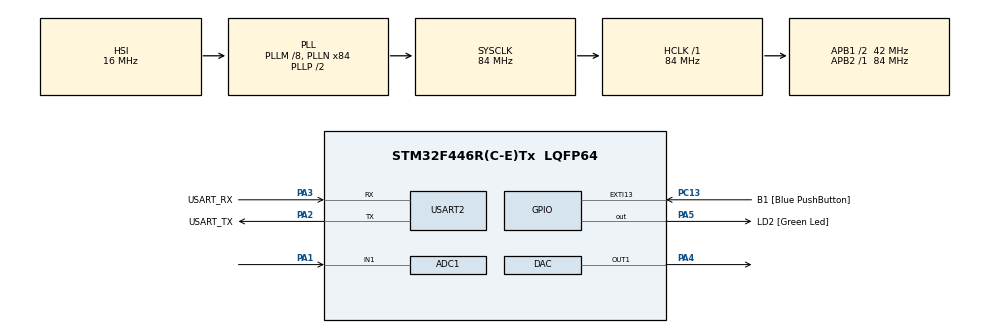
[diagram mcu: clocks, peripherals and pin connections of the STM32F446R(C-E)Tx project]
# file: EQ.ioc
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ADC1.Channel-0\#ChannelRegularConversion=ADC_CHANNEL_1
ADC1.ClockPrescaler=ADC_CLOCK_SYNC_PCLK_DIV4
ADC1.ContinuousConvMode=DISABLE
ADC1.DMAContinuousRequests=ENABLE
ADC1.ExternalTrigConv=ADC_EXTERNALTRIGCONV_T8_TRGO
ADC1.NbrOfConversionFlag=1
ADC1.Rank-0\#ChannelRegularConversion=1
ADC1.SamplingTime-0\#ChannelRegularConversion=ADC_SAMPLETIME_3CYCLES
ADC1.master=1
DAC.DAC_Trigger=DAC_TRIGGER_T8_TRGO
Dma.ADC1.0.Direction=DMA_PERIPH_TO_MEMORY
Dma.ADC1.0.FIFOMode=DMA_FIFOMODE_DISABLE
Dma.ADC1.0.Instance=DMA2_Stream0
Dma.ADC1.0.MemDataAlignment=DMA_MDATAALIGN_WORD
Dma.ADC1.0.MemInc=DMA_MINC_ENABLE
Dma.ADC1.0.Mode=DMA_CIRCULAR
Dma.ADC1.0.PeriphDataAlignment=DMA_PDATAALIGN_WORD
Dma.ADC1.0.PeriphInc=DMA_PINC_DISABLE
Dma.ADC1.0.Priority=DMA_PRIORITY_LOW
Dma.DAC1.1.Direction=DMA_MEMORY_TO_PERIPH
Dma.DAC1.1.FIFOMode=DMA_FIFOMODE_DISABLE
Dma.DAC1.1.Instance=DMA1_Stream5
Dma.DAC1.1.MemDataAlignment=DMA_MDATAALIGN_WORD
Dma.DAC1.1.MemInc=DMA_MINC_ENABLE
Dma.DAC1.1.Mode=DMA_CIRCULAR
Dma.DAC1.1.PeriphDataAlignment=DMA_PDATAALIGN_WORD
Dma.DAC1.1.PeriphInc=DMA_PINC_DISABLE
Dma.DAC1.1.Priority=DMA_PRIORITY_LOW
Dma.Request0=ADC1
Dma.Request1=DAC1
Mcu.Family=STM32F4
Mcu.Name=STM32F446R(C-E)Tx
Mcu.Package=LQFP64
NVIC.DMA1_Stream5_IRQn=true\:0\:0\:false\:false\:true\:false\:true\:true
NVIC.DMA2_Stream0_IRQn=true\:0\:0\:false\:false\:true\:false\:true\:true
NVIC.PriorityGroup=NVIC_PRIORITYGROUP_0
PA1.Signal=ADCx_IN1
PA13.GPIO_Label=TMS
PA13.Mode=Serial_Wire
PA13.Signal=SYS_JTMS-SWDIO
PA14.GPIO_Label=TCK
PA14.Mode=Serial_Wire
PA14.Signal=SYS_JTCK-SWCLK
PA2.GPIO_Label=USART_TX
PA2.Mode=Asynchronous
PA2.Signal=USART2_TX
PA3.GPIO_Label=USART_RX
PA3.Mode=Asynchronous
PA3.Signal=USART2_RX
PA4.Signal=COMP_DAC1_group
PA5.GPIO_Label=LD2 [Green Led]
PA5.Signal=GPIO_Output
PB3.GPIO_Label=SWO
PB3.Signal=SYS_JTDO-SWO
PC13.GPIO_Label=B1 [Blue PushButton]
PC13.GPIO_ModeDefaultEXTI=GPIO_MODE_IT_FALLING
PC13.Signal=GPXTI13
PC14-OSC32_IN.Signal=RCC_OSC32_IN
PC15-OSC32_OUT.Signal=RCC_OSC32_OUT
PH0-OSC_IN.Mode=HSE-External-Oscillator
PH0-OSC_IN.Signal=RCC_OSC_IN
PH1-OSC_OUT.Mode=HSE-External-Oscillator
PH1-OSC_OUT.Signal=RCC_OSC_OUT
ProjectManager.HeapSize=0x200
ProjectManager.StackSize=0x400
ProjectManager.TargetToolchain=STM32CubeIDE
RCC.48MHZClocksFreq_Value=84000000
RCC.AHBFreq_Value=84000000
RCC.APB1CLKDivider=RCC_HCLK_DIV2
RCC.APB1Freq_Value=42000000
RCC.APB1TimFreq_Value=84000000
RCC.APB2Freq_Value=84000000
RCC.APB2TimFreq_Value=84000000
RCC.CortexFreq_Value=84000000
RCC.FLatency-AdvancedSettings=FLASH_LATENCY_2
RCC.HCLKFreq_Value=84000000
RCC.HSE_VALUE=8000000
RCC.HSI_VALUE=16000000
RCC.PLLM=8
RCC.PLLN=84
RCC.SYSCLKFreq_VALUE=84000000
RCC.SYSCLKSource=RCC_SYSCLKSOURCE_PLLCLK
RCC.USBFreq_Value=84000000
RCC.VCOOutputFreq_Value=168000000
SH.ADCx_IN1.0=ADC1_IN1,IN1
SH.COMP_DAC1_group.0=DAC_OUT1,DAC_OUT1
TIM8.Period=49
TIM8.Prescaler=16
TIM8.TIM_MasterOutputTrigger=TIM_TRGO_UPDATE
USART2.VirtualMode=VM_ASYNC
VP_TIM8_VS_ClockSourceINT.Mode=Internal
board=NUCLEO-F446RE

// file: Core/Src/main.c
/* USER CODE BEGIN Header */
/**
  ******************************************************************************
  * @file           : main.c
  * @brief          : Main program body
  ******************************************************************************
  * @attention
  *
  * Copyright (c) 2024 STMicroelectronics.
  * All rights reserved.
  *
  * This software is licensed under terms that can be found in the LICENSE file
  * in the root directory of this software component.
  * If no LICENSE file comes with this software, it is provided AS-IS.
  *
  ******************************************************************************
  */
/* USER CODE END Header */
#include "main.h"

/* USER CODE BEGIN Includes */
#include "arm_math.h"
/* USER CODE END Includes */

/* USER CODE BEGIN PD */
#define N 32
#define halfN 16
#define NUMSTAGES 2
#define SNR_THRESHOLD 98
/* USER CODE END PD */

ADC_HandleTypeDef hadc1;
DMA_HandleTypeDef hdma_adc1;

DAC_HandleTypeDef hdac;
DMA_HandleTypeDef hdma_dac1;

TIM_HandleTypeDef htim8;

UART_HandleTypeDef huart2;

/* USER CODE BEGIN PV */
uint32_t adc_buffer[N];
uint32_t dac_buffer[N];

float32_t filt_in[N];
float32_t filt_out[N];
float32_t *filt_in_ptr = &filt_in[0];
float32_t *filt_out_ptr = &filt_out[0];

static q63_t biquadStateBand1Q31[4 * 2];
static q63_t biquadStateBand2Q31[4 * 2];
static q31_t biquadStateBand3Q31[4 * 2];
static q31_t biquadStateBand4Q31[4 * 2];
static q31_t biquadStateBand5Q31[4 * 2];

q31_t inputQ31[N];
q31_t outputQ31[N];
q31_t *inputQ31_ptr= &inputQ31[0];
q31_t *outputQ31_ptr= &outputQ31[0];

const q31_t coeffTable[950] = {
  /* Band 1, -9 dB gain */
  535576962, -1071153923, 535576962, 1073741824, -536870912, 535576962, -1063501998, 527979313, 1060865294, -524146981,
  /* Band 1, -8 dB gain */
  535723226, -1071446451, 535723226, 1073741824, -536870912, 535723226, -1063568947, 527903217, 1061230578, -524503778,
  535868593, -1071737186, 535868593, 1073741824, -536870912, 535868593, -1063627467, 527819780, 1061585502, -524850686,
  536013181, -1072026363, 536013181, 1073741824, -536870912, 536013181, -1063677598, 527728935, 1061930361, -525187972,
  536157109, -1072314217, 536157109, 1073741824, -536870912, 536157109, -1063719372, 527630607, 1062265438, -525515897,
  536300492, -1072600983, 536300492, 1073741824, -536870912, 536300492, -1063752815, 527524720, 1062591011, -525834716,
  536443447, -1072886894, 536443447, 1073741824, -536870912, 536443447, -1063777945, 527411186, 1062907350, -526144676,
  536586091, -1073172183, 536586091, 1073741824, -536870912, 536586091, -1063794775, 527289917, 1063214717, -526446017,
  536728541, -1073457082, 536728541, 1073741824, -536870912, 536728541, -1063803308, 527160815, 1063513366, -526738975,
  536870912, -1073741824, 536870912, 1073741824, -536870912, 536870912, -1063803543, 527023777, 1063803543, -527023777,
  537013321, -1074026642, 537013321, 1073741824, -536870912, 537013321, -1063795470, 526878696, 1064085490, -527300648,
  537155884, -1074311768, 537155884, 1073741824, -536870912, 537155884, -1063779073, 526725455, 1064359439, -527569803,
  537298718, -1074597435, 537298718, 1073741824, -536870912, 537298718, -1063754328, 526563934, 1064625617, -527831454,
  537441939, -1074883878, 537441939, 1073741824, -536870912, 537441939, -1063721205, 526394005, 1064884245, -528085806,
  537585666, -1075171331, 537585666, 1073741824, -536870912, 537585666, -1063679666, 526215534, 1065135536, -528333059,
  537730015, -1075460030, 537730015, 1073741824, -536870912, 537730015, -1063629666, 526028380, 1065379699, -528573409,
  537875106, -1075750212, 537875106, 1073741824, -536870912, 537875106, -1063571152, 525832396, 1065616936, -528807045,
  538021057, -1076042114, 538021057, 1073741824, -536870912, 538021057, -1063504065, 525627429, 1065847444, -529034151,
  538167989, -1076335977, 538167989, 1073741824, -536870912, 538167989, -1063428338, 525413317, 1066071412, -529254907,
  /* Band 2, -9 dB gain */
  531784976, -1055497692, 523873415, 1066213307, -529420241, 531784976, -1040357886, 509828014, 1028908252, -494627367,
  /* Band 2, -8 dB gain */
  532357636, -1056601982, 524400080, 1066115844, -529326645, 532357636, -1040623406, 509562600, 1030462237, -496062122,
  532927392, -1057707729, 524931110, 1066024274, -529239070, 532927392, -1040848253, 509262081, 1031969246, -497457090,
  533494678, -1058816094, 525467240, 1065939047, -529157961, 533494678, -1041032161, 508925950, 1033429976, -498812573,
  534059929, -1059928204, 526009170, 1065860582, -529083734, 534059929, -1041174868, 508553717, 1034845124, -500128887,
  534623580, -1061045148, 526557561, 1065789260, -529016764, 534623580, -1041276126, 508144920, 1036215393, -501406373,
  535186068, -1062167969, 527113032, 1065725420, -528957385, 535186068, -1041335703, 507699125, 1037541500, -502645399,
  535747827, -1063297666, 527676151, 1065669351, -528905879, 535747827, -1041353386, 507215934, 1038824183, -503846368,
  536309295, -1064435183, 528247436, 1065621289, -528862476, 536309295, -1041328990, 506694984, 1040064203, -505009724,
  536870912, -1065581413, 528827349, 1065581413, -528827349, 536870912, -1041262354, 506135953, 1041262354, -506135953,
  537433117, -1066737194, 529416295, 1065549847, -528800610, 537433117, -1041153346, 505538564, 1042419457, -507225588,
  537996352, -1067903307, 530014622, 1065526651, -528782316, 537996352, -1041001864, 504902578, 1043536370, -508279208,
  538561061, -1069080480, 530622620, 1065511830, -528772462, 538561061, -1040807833, 504227800, 1044613981, -509297437,
  539127690, -1070269387, 531240527, 1065505333, -528770987, 539127690, -1040571205, 503514074, 1045653211, -510280946,
  539696690, -1071470656, 531868525, 1065507054, -528777778, 539696690, -1040291951, 502761277, 1046655011, -511230450,
  540268512, -1072684867, 532506750, 1065516837, -528792672, 540268512, -1039970063, 501969320, 1047620358, -512146700,
  540843613, -1073912567, 533155297, 1065534483, -528815459, 540843613, -1039605542, 501138139, 1048550251, -513030484,
  541422451, -1075154268, 533814224, 1065559750, -528845892, 541422451, -1039198394, 500267687, 1049445708, -513882621,
  542005489, -1076410460, 534483561, 1065592362, -528883686, 542005489, -1038748624, 499357932, 1050307760, -514703956,
  518903861, -1001986830, 486725277, 1037235801, -502367695, 518903861, -945834422, 446371043, 902366163, -400700571,
  520899989, -1005630916, 488289126, 1036926846, -502147311, 520899989, -946490935, 445581846, 907921945, -404936158,
  522893209, -1009290002, 489869792, 1036650484, -501961419, 522893209, -947006359, 444685310, 913306106, -409075225,
  524884763, -1012968199, 491470256, 1036407567, -501810737, 524884763, -947377809, 443679533, 918521018, -413116221,
  526875910, -1016669649, 493093518, 1036198712, -501695739, 526875910, -947602324, 442562672, 923569247, -417057897,
  528867927, -1020398503, 494742575, 1036024293, -501616651, 528867927, -947676875, 441332970, 928453558, -420899319,
  530862111, -1024158905, 496420407, 1035884447, -501573457, 530862111, -947598385, 439988777, 933176909, -424639872,
  532859778, -1027954970, 498129955, 1035779077, -501565907, 532859778, -947363742, 438528571, 937742446, -428279254,
  534862260, -1031790763, 499874098, 1035707863, -501593525, 534862260, -946969823, 436950987, 942153486, -431817474,
  536870912, -1035670279, 501655630, 1035670279, -501655630, 536870912, -946413508, 435254839, 946413508, -435254839,
  538887107, -1039597419, 503477238, 1035665609, -501751354, 538887107, -945691703, 433439146, 950526127, -438591937,
  540912240, -1043575967, 505341475, 1035692963, -501879659, 540912240, -944801359, 431503152, 954495080, -441829621,
  542947726, -1047609569, 507250741, 1035751307, -502039364, 542947726, -943739490, 429446349, 958324201, -444968987,
  544995000, -1051701717, 509207261, 1035839473, -502229165, 544995000, -942503190, 427268492, 962017400, -448011351,
  547055523, -1055855728, 511213065, 1035956193, -502447657, 547055523, -941089647, 424969617, 965578640, -450958226,
  549130774, -1060074734, 513269973, 1036100110, -502693359, 549130774, -939496155, 422550049, 969011913, -453811298,
  551222259, -1064361672, 515379585, 1036269804, -502964731, 551222259, -937720119, 420010407, 972321228, -456572401,
  553331507, -1068719280, 517543273, 1036463810, -503260192, 553331507, -935759057, 417351601, 975510582, -459243495,
  555460072, -1073150100, 519762181, 1036680633, -503578144, 555460072, -933610600, 414574832, 978583948, -461826644,
  494084017, -851422604, 404056273, 930151631, -423619864, 494084017, -673714108, 339502486, 561843007, -265801750,
  498713542, -859177141, 406587077, 929211656, -423786402, 498713542, -673274906, 338185129, 573719128, -272222942,
  503369016, -867012190, 409148384, 928362985, -424054784, 503369016, -672533059, 336693984, 585290277, -278599028,
  508052536, -874935599, 411746438, 927604291, -424422151, 508052536, -671478538, 335026905, 596558312, -284920289,
  512766286, -882955583, 414387826, 926933782, -424885216, 512766286, -670100998, 333182045, 607525792, -291177811,
  517512534, -891080712, 417079474, 926349262, -425440318, 517512534, -668389789, 331157902, 618195914, -297363485,
  522293635, -899319903, 419828635, 925848177, -426083491, 522293635, -666333963, 328953368, 628572440, -303470012,
  527112032, -907682405, 422642886, 925427679, -426810526, 527112032, -663922286, 326567785, 638659631, -309490882,
  531970251, -916177781, 425530105, 925084675, -427617023, 531970251, -661143261, 324000998, 648462180, -315420352,
  536870912, -924815881, 428498454, 924815881, -428498454, 536870912, -657985147, 321253420, 657985147, -321253420,
  541816719, -933606817, 431556352, 924617870, -429450209, 541816719, -654435997, 318326093, 667233900, -326985786,
  546810467, -942560921, 434712438, 924487114, -430467639, 546810467, -650483688, 315220754, 676214053, -332613816,
  551855042, -951688708, 437975532, 924420027, -431546101, 551855042, -646115970, 311939896, 684931422, -338134495,
  556953421, -961000826, 441354588, 924413001, -432680993, 556953421, -641320513, 308486839, 693391970, -343545389,
  562108672, -970508005, 444858642, 924462435, -433867780, 562108672, -636084967, 304865786, 701601770, -348844597,
  567323959, -980220994, 448496743, 924564764, -435102022, 567323959, -630397020, 301081886, 709566963, -354030710,
  572602539, -990150500, 452277894, 924716482, -436379394, 572602539, -624244471, 297141281, 717293726, -359102767,
  577947763, -1000307125, 456210977, 924914158, -437695705, 577947763, -617615296, 293051155, 724788245, -364060214,
  583363084, -1010701292, 460304674, 925154455, -439046908, 583363084, -610497723, 288819761, 732056685, -368902865,
  387379495, -506912469, 196933274, 840112184, -347208270, 387379495, 506912469, 196933274, -840112184, -347208270,
  401658082, -532275898, 207149427, 833765363, -343175316, 401658082, 532275898, 207149427, -833765363, -343175316,
  416472483, -558722695, 217902617, 827270154, -339107319, 416472483, 558722695, 217902617, -827270154, -339107319,
  431841949, -586290861, 229212798, 820624988, -335007540, 431841949, 586290861, 229212798, -820624988, -335007540,
  447786335, -615019650, 241100489, 813828443, -330879528, 447786335, 615019650, 241100489, -813828443, -330879528,
  464326111, -644949597, 253586805, 806879270, -326727141, 464326111, 644949597, 253586805, -806879270, -326727141,
  481482377, -676122557, 266693475, 799776409, -322554559, 481482377, 676122557, 266693475, -799776409, -322554559,
  499276882, -708581728, 280442865, 792519013, -318366296, 499276882, 708581728, 280442865, -792519013, -318366296,
  517732032, -742371685, 294857996, 785106465, -314167221, 517732032, 742371685, 294857996, -785106465, -314167221,
  536870912, -777538408, 309962566, 777538408, -309962566, 536870912, 777538408, 309962566, -777538408, -309962566,
  556717294, -814129313, 325780968, 769814766, -305757943, 556717294, 814129313, 325780968, -769814766, -305757943,
  577295658, -852193284, 342338310, 761935777, -301559360, 577295658, 852193284, 342338310, -761935777, -301559360,
  598631206, -891780698, 359660433, 753902014, -297373230, 598631206, 891780698, 359660433, -753902014, -297373230,
  620749877, -932943463, 377773927, 745714425, -293206383, 620749877, 932943463, 377773927, -745714425, -293206383,
  643678365, -975735041, 396706151, 737374355, -289066077, 643678365, 975735041, 396706151, -737374355, -289066077,
  667444134, -1020210487, 416485252, 728883588, -284960004, 667444134, 1020210487, 416485252, -728883588, -284960004,
  692075438, -1066426476, 437140179, 720244375, -280896294, 692075438, 1066426476, 437140179, -720244375, -280896294,
  717601336, -1114441339, 458700704, 711459472, -276883515, 717601336, 1114441339, 458700704, -711459472, -276883515,
  744051710, -1164315096, 481197437, 702532174, -272930673, 744051710, 1164315096, 481197437, -702532174, -272930673
};

//desired gains for each band
int gainDB[5] = {0, -3, 6, 4, -6};
float32_t snr;

arm_biquad_cas_df1_32x64_ins_q31 S1;
arm_biquad_cas_df1_32x64_ins_q31 S2;
arm_biquad_casd_df1_inst_q31 S3;
arm_biquad_casd_df1_inst_q31 S4;
arm_biquad_casd_df1_inst_q31 S5;

/* USER CODE END PV */

void SystemClock_Config(void);
static void MX_GPIO_Init(void);
static void MX_DMA_Init(void);
static void MX_USART2_UART_Init(void);
static void MX_ADC1_Init(void);
static void MX_DAC_Init(void);
static void MX_TIM8_Init(void);

int main(void)
{

  /* USER CODE BEGIN 1 */
	int i;
	int32_t status;

//	 arm_biquad_cas_df1_32x64_init_q31(&S1, NUMSTAGES,
//	            (q31_t *) &coeffTable[190*0 + 10*(gainDB[0] + 9)],
//	            &biquadStateBand1Q31[0], 2);
//	  arm_biquad_cas_df1_32x64_init_q31(&S2, NUMSTAGES,
//	            (q31_t *) &coeffTable[190*1 + 10*(gainDB[1] + 9)],
//	            &biquadStateBand2Q31[0], 2);
//	  arm_biquad_cascade_df1_init_q31(&S3, NUMSTAGES,
//	          (q31_t *) &coeffTable[190*2 + 10*(gainDB[2] + 9)],
//	          &biquadStateBand3Q31[0], 2);
//	  arm_biquad_cascade_df1_init_q31(&S4, NUMSTAGES,
//	          (q31_t *) &coeffTable[190*3 + 10*(gainDB[3] + 9)],
//	          &biquadStateBand4Q31[0], 2);
//	  arm_biquad_cascade_df1_init_q31(&S5, NUMSTAGES,
//	          (q31_t *) &coeffTable[190*4 + 10*(gainDB[4] + 9)],
//	          &biquadStateBand5Q31[0], 2);

  /* USER CODE END 1 */

  /* MCU Configuration--------------------------------------------------------*/

  /* Reset of all peripherals, Initializes the Flash interface and the Systick. */
   HAL_Init();

  /* Configure the system clock */
  SystemClock_Config();

  /* Initialize all configured peripherals */
  MX_GPIO_Init();
  MX_DMA_Init();
  MX_USART2_UART_Init();
  MX_ADC1_Init();
  MX_DAC_Init();
  MX_TIM8_Init();
  /* USER CODE BEGIN 2 */
  HAL_ADC_Start_DMA(&hadc1, adc_buffer, N);
  HAL_DAC_Start_DMA(&hdac, DAC_CHANNEL_1, dac_buffer, N, DAC_ALIGN_12B_R);
  HAL_TIM_Base_Start(&htim8);
  uint8_t buttonState = 1;
  uint8_t toggled = 0;
  uint8_t toggle = 0;
  /* USER CODE END 2 */

  /* Infinite loop */
  while (1)
  {
	  buttonState = HAL_GPIO_ReadPin(B1_GPIO_Port, B1_Pin);

	  if(buttonState == 1 && toggled == 0) {
		  toggle = toggle ? 0: 1;
		  toggled = 1;
	  }

	  if(buttonState == 0){
		  toggled = 0;
	  }

	  if (toggle == 1){

	  }
	  else {

	  }

  }
}

void SystemClock_Config(void)
{
  RCC_OscInitTypeDef RCC_OscInitStruct = {0};
  RCC_ClkInitTypeDef RCC_ClkInitStruct = {0};

  /** Configure the main internal regulator output voltage
  */
  __HAL_RCC_PWR_CLK_ENABLE();
  __HAL_PWR_VOLTAGESCALING_CONFIG(PWR_REGULATOR_VOLTAGE_SCALE3);

  /** Initializes the RCC Oscillators according to the specified parameters
  * in the RCC_OscInitTypeDef structure.
  */
  RCC_OscInitStruct.OscillatorType = RCC_OSCILLATORTYPE_HSI;
  RCC_OscInitStruct.HSIState = RCC_HSI_ON;
  RCC_OscInitStruct.HSICalibrationValue = RCC_HSICALIBRATION_DEFAULT;
  RCC_OscInitStruct.PLL.PLLState = RCC_PLL_ON;
  RCC_OscInitStruct.PLL.PLLSource = RCC_PLLSOURCE_HSI;
  RCC_OscInitStruct.PLL.PLLM = 8;
  RCC_OscInitStruct.PLL.PLLN = 84;
  RCC_OscInitStruct.PLL.PLLP = RCC_PLLP_DIV2;
  RCC_OscInitStruct.PLL.PLLQ = 2;
  RCC_OscInitStruct.PLL.PLLR = 2;
  if (HAL_RCC_OscConfig(&RCC_OscInitStruct) != HAL_OK)
  {
    Error_Handler();
  }

  /** Initializes the CPU, AHB and APB buses clocks
  */
  RCC_ClkInitStruct.ClockType = RCC_CLOCKTYPE_HCLK|RCC_CLOCKTYPE_SYSCLK
                              |RCC_CLOCKTYPE_PCLK1|RCC_CLOCKTYPE_PCLK2;
  RCC_ClkInitStruct.SYSCLKSource = RCC_SYSCLKSOURCE_PLLCLK;
  RCC_ClkInitStruct.AHBCLKDivider = RCC_SYSCLK_DIV1;
  RCC_ClkInitStruct.APB1CLKDivider = RCC_HCLK_DIV2;
  RCC_ClkInitStruct.APB2CLKDivider = RCC_HCLK_DIV1;

  if (HAL_RCC_ClockConfig(&RCC_ClkInitStruct, FLASH_LATENCY_2) != HAL_OK)
  {
    Error_Handler();
  }
}

static void MX_ADC1_Init(void)
{

  ADC_ChannelConfTypeDef sConfig = {0};

  /** Configure the global features of the ADC (Clock, Resolution, Data Alignment and number of conversion)
  */
  hadc1.Instance = ADC1;
  hadc1.Init.ClockPrescaler = ADC_CLOCK_SYNC_PCLK_DIV4;
  hadc1.Init.Resolution = ADC_RESOLUTION_12B;
  hadc1.Init.ScanConvMode = DISABLE;
  hadc1.Init.ContinuousConvMode = DISABLE;
  hadc1.Init.DiscontinuousConvMode = DISABLE;
  hadc1.Init.ExternalTrigConvEdge = ADC_EXTERNALTRIGCONVEDGE_RISING;
  hadc1.Init.ExternalTrigConv = ADC_EXTERNALTRIGCONV_T8_TRGO;
  hadc1.Init.DataAlign = ADC_DATAALIGN_RIGHT;
  hadc1.Init.NbrOfConversion = 1;
  hadc1.Init.DMAContinuousRequests = ENABLE;
  hadc1.Init.EOCSelection = ADC_EOC_SINGLE_CONV;
  if (HAL_ADC_Init(&hadc1) != HAL_OK)
  {
    Error_Handler();
  }

  /** Configure for the selected ADC regular channel its corresponding rank in the sequencer and its sample time.
  */
  sConfig.Channel = ADC_CHANNEL_1;
  sConfig.Rank = 1;
  sConfig.SamplingTime = ADC_SAMPLETIME_3CYCLES;
  if (HAL_ADC_ConfigChannel(&hadc1, &sConfig) != HAL_OK)
  {
    Error_Handler();
  }

}

static void MX_DAC_Init(void)
{

  DAC_ChannelConfTypeDef sConfig = {0};

  /** DAC Initialization
  */
  hdac.Instance = DAC;
  if (HAL_DAC_Init(&hdac) != HAL_OK)
  {
    Error_Handler();
  }

  /** DAC channel OUT1 config
  */
  sConfig.DAC_Trigger = DAC_TRIGGER_T8_TRGO;
  sConfig.DAC_OutputBuffer = DAC_OUTPUTBUFFER_ENABLE;
  if (HAL_DAC_ConfigChannel(&hdac, &sConfig, DAC_CHANNEL_1) != HAL_OK)
  {
    Error_Handler();
  }

}

static void MX_TIM8_Init(void)
{

  TIM_ClockConfigTypeDef sClockSourceConfig = {0};
  TIM_MasterConfigTypeDef sMasterConfig = {0};

  htim8.Instance = TIM8;
  htim8.Init.Prescaler = 16;
  htim8.Init.CounterMode = TIM_COUNTERMODE_UP;
  htim8.Init.Period = 49;
  htim8.Init.ClockDivision = TIM_CLOCKDIVISION_DIV1;
  htim8.Init.RepetitionCounter = 0;
  htim8.Init.AutoReloadPreload = TIM_AUTORELOAD_PRELOAD_DISABLE;
  if (HAL_TIM_Base_Init(&htim8) != HAL_OK)
  {
    Error_Handler();
  }
  sClockSourceConfig.ClockSource = TIM_CLOCKSOURCE_INTERNAL;
  if (HAL_TIM_ConfigClockSource(&htim8, &sClockSourceConfig) != HAL_OK)
  {
    Error_Handler();
  }
  sMasterConfig.MasterOutputTrigger = TIM_TRGO_UPDATE;
  sMasterConfig.MasterSlaveMode = TIM_MASTERSLAVEMODE_DISABLE;
  if (HAL_TIMEx_MasterConfigSynchronization(&htim8, &sMasterConfig) != HAL_OK)
  {
    Error_Handler();
  }

}

static void MX_USART2_UART_Init(void)
{

  huart2.Instance = USART2;
  huart2.Init.BaudRate = 115200;
  huart2.Init.WordLength = UART_WORDLENGTH_8B;
  huart2.Init.StopBits = UART_STOPBITS_1;
  huart2.Init.Parity = UART_PARITY_NONE;
  huart2.Init.Mode = UART_MODE_TX_RX;
  huart2.Init.HwFlowCtl = UART_HWCONTROL_NONE;
  huart2.Init.OverSampling = UART_OVERSAMPLING_16;
  if (HAL_UART_Init(&huart2) != HAL_OK)
  {
    Error_Handler();
  }

}

static void MX_DMA_Init(void)
{

  /* DMA controller clock enable */
  __HAL_RCC_DMA2_CLK_ENABLE();
  __HAL_RCC_DMA1_CLK_ENABLE();

  /* DMA interrupt init */
  /* DMA1_Stream5_IRQn interrupt configuration */
  HAL_NVIC_SetPriority(DMA1_Stream5_IRQn, 0, 0);
  HAL_NVIC_EnableIRQ(DMA1_Stream5_IRQn);
  /* DMA2_Stream0_IRQn interrupt configuration */
  HAL_NVIC_SetPriority(DMA2_Stream0_IRQn, 0, 0);
  HAL_NVIC_EnableIRQ(DMA2_Stream0_IRQn);

}

static void MX_GPIO_Init(void)
{
  GPIO_InitTypeDef GPIO_InitStruct = {0};

  /* GPIO Ports Clock Enable */
  __HAL_RCC_GPIOC_CLK_ENABLE();
  __HAL_RCC_GPIOH_CLK_ENABLE();
  __HAL_RCC_GPIOA_CLK_ENABLE();
  __HAL_RCC_GPIOB_CLK_ENABLE();

  /*Configure GPIO pin Output Level */
  HAL_GPIO_WritePin(LD2_GPIO_Port, LD2_Pin, GPIO_PIN_RESET);

  /*Configure GPIO pin : B1_Pin */
  GPIO_InitStruct.Pin = B1_Pin;
  GPIO_InitStruct.Mode = GPIO_MODE_IT_FALLING;
  GPIO_InitStruct.Pull = GPIO_NOPULL;
  HAL_GPIO_Init(B1_GPIO_Port, &GPIO_InitStruct);

  /*Configure GPIO pin : LD2_Pin */
  GPIO_InitStruct.Pin = LD2_Pin;
  GPIO_InitStruct.Mode = GPIO_MODE_OUTPUT_PP;
  GPIO_InitStruct.Pull = GPIO_NOPULL;
  GPIO_InitStruct.Speed = GPIO_SPEED_FREQ_LOW;
  HAL_GPIO_Init(LD2_GPIO_Port, &GPIO_InitStruct);

}

/* USER CODE BEGIN 4 */
void HAL_ADC_ConvHalfCpltCallback(ADC_HandleTypeDef* hadc1) {

	arm_biquad_cas_df1_32x64_init_q31(&S1, NUMSTAGES,
		          (q31_t *) &coeffTable[190*0 + 10*(gainDB[0] + 9)],
		          &biquadStateBand1Q31[0], 2);
	arm_biquad_cas_df1_32x64_init_q31(&S2, NUMSTAGES,
		          (q31_t *) &coeffTable[190*1 + 10*(gainDB[1] + 9)],
		           &biquadStateBand2Q31[0], 2);
	 arm_biquad_cascade_df1_init_q31(&S3, NUMSTAGES,
		          (q31_t *) &coeffTable[190*2 + 10*(gainDB[2] + 9)],
		          &biquadStateBand3Q31[0], 2);
	arm_biquad_cascade_df1_init_q31(&S4, NUMSTAGES,
		          (q31_t *) &coeffTable[190*3 + 10*(gainDB[3] + 9)],
		          &biquadStateBand4Q31[0], 2);
	arm_biquad_cascade_df1_init_q31(&S5, NUMSTAGES,
		          (q31_t *) &coeffTable[190*4 + 10*(gainDB[4] + 9)],
		          &biquadStateBand5Q31[0], 2);

	for( int n=0; n<halfN; n++){ filt_in[n] = (float32_t) adc_buffer[n];}
	//arm_fir_f32(&filter1, filt_in_ptr, filt_out_ptr, halfN);

	/* ----------------------------------------------------------------------
	** Convert block of input data from float to Q31
	** ------------------------------------------------------------------- */
	for (int i = 0; i < 16; i++) {

		arm_float_to_q31(filt_in_ptr + (i * 32), inputQ31, 32);

		/* ----------------------------------------------------------------------
		** Scale down by 1/8.  This provides additional headroom so that the
		** graphic EQ can apply gain.
		** ------------------------------------------------------------------- */
		arm_scale_q31(inputQ31, 0x7FFFFFFF, -3, inputQ31, 32);

		/* ----------------------------------------------------------------------
		** Call the Q31 Biquad Cascade DF1 32x64 process function for band1, band2
		** ------------------------------------------------------------------- */
		arm_biquad_cas_df1_32x64_q31(&S1, inputQ31, outputQ31, 32);
		//arm_biquad_cas_df1_32x64_q31(&S2, outputQ31, outputQ31, halfN);
		/* ----------------------------------------------------------------------
		** Call the Q31 Biquad Cascade DF1 process function for band3, band4, band5
		** ------------------------------------------------------------------- */
		//arm_biquad_cascade_df1_q31(&S3, outputQ31, outputQ31, halfN);
		//arm_biquad_cascade_df1_q31(&S4, outputQ31, outputQ31, halfN);
		//arm_biquad_cascade_df1_q31(&S5, outputQ31, outputQ31, halfN);
		/* ----------------------------------------------------------------------
		** Convert Q31 result back to float
		** ------------------------------------------------------------------- */
		arm_q31_to_float(outputQ31, filt_out_ptr + (i * 32), 32);

		/* ----------------------------------------------------------------------
		** Scale back up
		** ------------------------------------------------------------------- */
		arm_scale_f32(filt_out_ptr + (i + 32), 8.0f, filt_out_ptr + (i + 32, 32), 32);
	}

//	for( int n=0; n<halfN; n++)		{
//		filt_out[n] += 2;
//		dac_buffer[n] = (uint32_t) (filt_out[n]);
//	}

}

//void HAL_ADC_ConvCpltCallback(ADC_HandleTypeDef* hadc1) {
//
//	arm_biquad_cas_df1_32x64_init_q31(&S1, NUMSTAGES,
//		            (q31_t *) &coeffTable[190*0 + 10*(gainDB[0] + 9)],
//		            &biquadStateBand1Q31[0], 2);
//		  arm_biquad_cas_df1_32x64_init_q31(&S2, NUMSTAGES,
//		            (q31_t *) &coeffTable[190*1 + 10*(gainDB[1] + 9)],
//		            &biquadStateBand2Q31[0], 2);
//		  arm_biquad_cascade_df1_init_q31(&S3, NUMSTAGES,
//		          (q31_t *) &coeffTable[190*2 + 10*(gainDB[2] + 9)],
//		          &biquadStateBand3Q31[0], 2);
//		  arm_biquad_cascade_df1_init_q31(&S4, NUMSTAGES,
//		          (q31_t *) &coeffTable[190*3 + 10*(gainDB[3] + 9)],
//		          &biquadStateBand4Q31[0], 2);
//		  arm_biquad_cascade_df1_init_q31(&S5, NUMSTAGES,
//		          (q31_t *) &coeffTable[190*4 + 10*(gainDB[4] + 9)],
//		          &biquadStateBand5Q31[0], 2);
//
//	for( int n=halfN; n<N; n++){filt_in[n] = (float32_t) adc_buffer[n];}
//
//	//filt_in[n] = (float32_t) adc_buffer[n];
//
//	/* ----------------------------------------------------------------------
//	** Convert block of input data from float to Q31
//	** ------------------------------------------------------------------- */
//	for (int i = 16; i < 32; i++) {
//
//		arm_float_to_q31(filt_in_ptr + (i * 32), inputQ31, 32);
//
//	/* ----------------------------------------------------------------------
//	** Scale down by 1/8.  This provides additional headroom so that the
//	** graphic EQ can apply gain.
//	** ------------------------------------------------------------------- */
//		arm_scale_q31(inputQ31, 0x7FFFFFFF, -3, inputQ31, 32);
//	/* ----------------------------------------------------------------------
//	** Call the Q31 Biquad Cascade DF1 32x64 process function for band1, band2
//	** ------------------------------------------------------------------- */
//		arm_biquad_cas_df1_32x64_q31(&S1, inputQ31, outputQ31, 32);
//	//arm_biquad_cas_df1_32x64_q31(&S2, outputQ31 + halfN, outputQ31 + halfN, halfN);
//	/* ----------------------------------------------------------------------
//	** Call the Q31 Biquad Cascade DF1 process function for band3, band4, band5
//	** ------------------------------------------------------------------- */
//	//arm_biquad_cascade_df1_q31(&S3, outputQ31 + halfN, outputQ31 + halfN, halfN);
//	//arm_biquad_cascade_df1_q31(&S4, outputQ31 + halfN, outputQ31 + halfN, halfN);
//	//arm_biquad_cascade_df1_q31(&S5, outputQ31 + halfN, outputQ31, halfN);
//	/* ----------------------------------------------------------------------
//	** Convert Q31 result back to float
//	** ------------------------------------------------------------------- */
//		arm_q31_to_float(outputQ31, filt_out_ptr + (i * 32), 32);
//	/* ----------------------------------------------------------------------
//	** Scale back up
//	** ------------------------------------------------------------------- */
//		arm_scale_f32(filt_out_ptr + (i * 32), 8.0f, filt_out_ptr + (i * 32), 32);
//
//	}
//
//
//	//arm_fir_f32(&filter1, filt_in_ptr + halfN, filt_out_ptr + halfN, halfN);
////    for( int n=halfN; n<N; n++){
////    	filt_out[n] += 2;
////    	dac_buffer[n] = (uint32_t) (filt_out[n] * 1000);}
//
//}

/* USER CODE END 4 */

void Error_Handler(void)
{
  __disable_irq();
  while (1)
  {
  }
}
